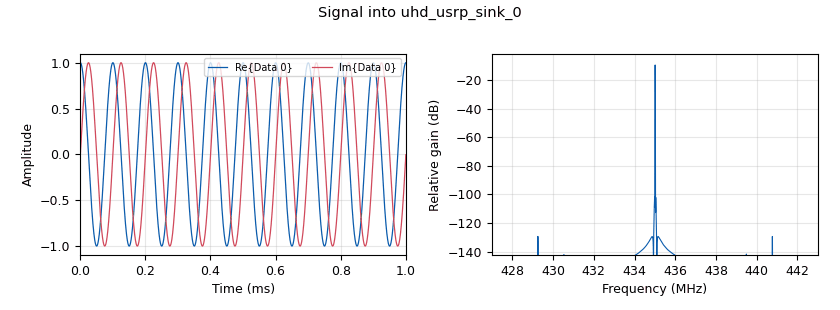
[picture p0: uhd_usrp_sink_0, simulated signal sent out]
options:
  parameters:
    author: thomas
    generate_options: qt_gui
    id: sine
    output_language: python
    title: Not titled yet
  states: {}

blocks:
- name: device_addr
  id: variable
  parameters:
    value: '"serial=312A195"'
  states: {}
- name: freq
  id: variable
  parameters:
    value: 435e6
  states: {}
- name: samp_rate
  id: variable
  parameters:
    value: 16e6
  states: {}
- name: analog_sig_source_x_0
  id: analog_sig_source_x
  parameters:
    amp: '1'
    freq: '10000'
    offset: '0'
    phase: '0'
    samp_rate: samp_rate
    type: complex
    waveform: analog.GR_COS_WAVE
  states: {}
- name: uhd_usrp_sink_0
  id: uhd_usrp_sink
  parameters:
    ant0: TX/RX
    bw0: samp_rate
    center_freq0: freq
    clock_rate: '0.0'
    dev_addr: device_addr
    dev_args: '""'
    gain0: '50'
    len_tag_name: ''
    samp_rate: samp_rate
    sync: sync
    type: fc32
  states: {}

connections:
- [analog_sig_source_x_0, '0', uhd_usrp_sink_0, '0']

metadata:
  file_format: 1
